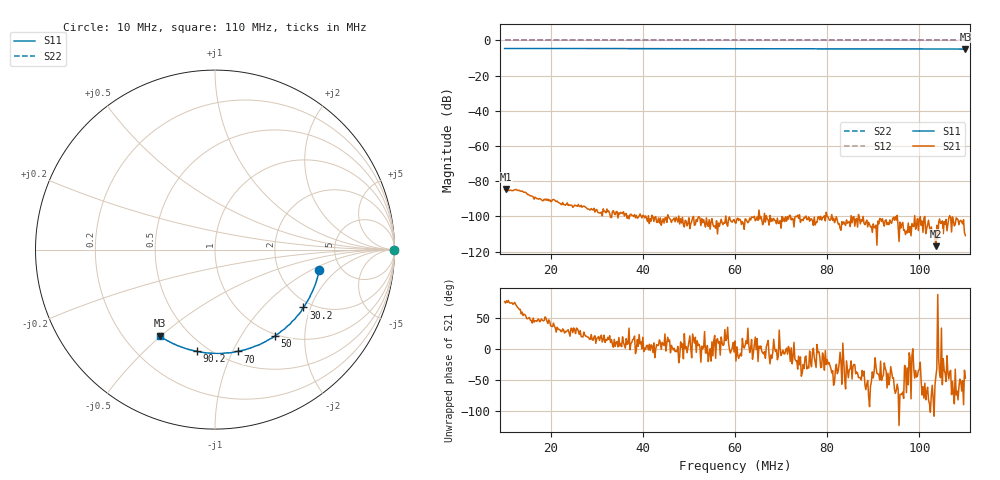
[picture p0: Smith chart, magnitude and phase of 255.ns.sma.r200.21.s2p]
! Anritsu VNA Master:  Model: MS2036C/10/77
! SN:  1601066
! /card0/usr/255.ns.sma.r200.21.s2p
! Existing Calibration Information:
! TYPE:  Current Settings,  Active Cal Settings
! TIME:  12/19/2017 07:14:22 PM,  12/19/2017 06:59:48 PM
! INTERNAL TEMP:  40.0 C,  39.3 C
! # POINTS:  501,  501
! START FREQ:  10.000 MHz,  10.000 MHz
! STOP FREQ:  110.000 MHz,  110.000 MHz
! SOURCE POWER:  High,  High
! IFBW:  100 Hz,  100 Hz
! AVG FACTOR:  1 ,  1
! REF PLANE 1:  0 mm,  0 mm
! REF PLANE 2:  0 mm,  0 mm
! CAL TYPE:  Full S11,  Full S11
! CAL METHOD:  SOLT,  SOLT
! CAL LINE TYPE:  Coax,  Coax
! DUT PORT 1:  N-Conn(F),  N-Conn(F)
! DUT PORT 2:  K-Conn(F),  K-Conn(F)
! CAL STATUS:  OK: Accuracy High,  --
# GHZ S DB R 50.0
! FREQ.GHZ  S11DB  S11A  S21DB  S21A  S12DB  S12A  S22DB  S22A
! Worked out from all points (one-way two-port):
!   501 points, 10 MHz to 110 MHz, reference 50 ohm
!   highest |S21| = -84.38 dB at 10.2 MHz (marker M1); lowest = -116.9 dB at 103.6 MHz (marker M2)
!   lowest |S11| = -4.9 dB at 110 MHz (marker M3), VSWR 3.66, Z = 17.4 - j24.7 ohm
!   |S11| at or under -10 dB: nowhere
!   |S22| runs from 0.0 to 0.0 dB; largest |S21 - S12| = 1
!   S11 on the Smith chart (normalised r, x): 10 MHz: 3.46, -1.19; 30.2 MHz: 1.81, -1.78; 50 MHz: 0.97, -1.43; 70 MHz: 0.61, -1.04; 90.2 MHz: 0.44, -0.74; 110 MHz: 0.35, -0.49
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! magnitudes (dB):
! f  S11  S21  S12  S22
! 10 MHz  -4.6  -84.8  0.0  0.0
! 10.2 MHz  -4.5  -84.4  0.0  0.0
! 26.8 MHz  -4.6  -94.8  0.0  0.0
! 30.2 MHz  -4.6  -97.6  0.0  0.0
! 32.8 MHz  -4.6  -98.2  0.0  0.0
! 35.4 MHz  -4.6  -98.1  0.0  0.0
! 37.2 MHz  -4.6  -99.0  0.0  0.0
! 38.6 MHz  -4.6  -99.4  0.0  0.0
! 40.4 MHz  -4.6  -100.7  0.0  0.0
! 43.4 MHz  -4.6  -100.9  0.0  0.0
! 50 MHz  -4.6  -100.8  0.0  0.0
! 51.4 MHz  -4.6  -104.6  0.0  0.0
! 53.2 MHz  -4.7  -101.8  0.0  0.0
! 60 MHz  -4.7  -103.5  0.0  0.0
! 70 MHz  -4.7  -106.6  0.0  0.0
! 76.8 MHz  -4.7  -102.4  0.0  0.0
! 80.8 MHz  -4.7  -101.5  0.0  0.0
! 82.8 MHz  -4.8  -106.8  0.0  0.0
! 90.2 MHz  -4.8  -106.3  0.0  0.0
! 93.4 MHz  -4.8  -104.6  0.0  0.0
! 103.6 MHz  -4.8  -116.9  0.0  0.0
! 110 MHz  -4.9  -110.9  0.0  0.0
